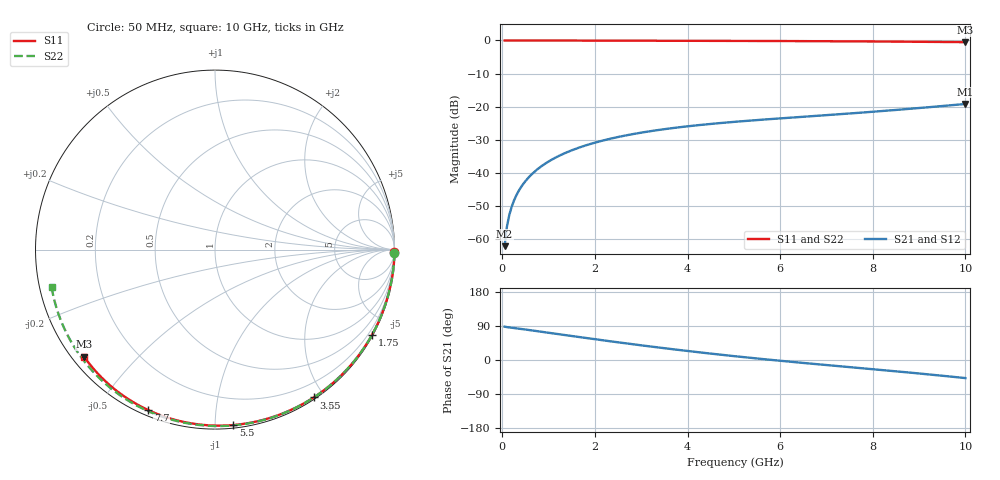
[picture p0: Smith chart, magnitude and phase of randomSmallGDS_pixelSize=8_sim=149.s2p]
! freq	dB(S11)	phase(S11)	dB(S12)	phase(S12)
!  dB(S21)	phase(S21)	dB(S22)	phase(S22)
!S-par simulation data
#  GHz  S  DB  R 50
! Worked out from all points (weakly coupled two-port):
!   200 points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, 50 MHz to 10 GHz, reference 50 ohm
!   highest |S21| = -19.15 dB at 10 GHz (marker M1); lowest = -62.0 dB at 50 MHz (marker M2)
!   lowest |S11| = -0.5 dB at 10 GHz (marker M3), VSWR 33.67, Z = 1.67 - j17.8 ohm
!   |S11| at or under -10 dB: nowhere
!   |S22| runs from -0.6 to 0.0 dB; largest |S21 - S12| = 0
!   S11 on the Smith chart (normalised r, x): 50 MHz: open; 1.75 GHz: 0.04, -3.94; 3.55 GHz: 0.02, -1.87; 5.5 GHz: 0.02, -1.11; 7.7 GHz: 0.02, -0.67; 10 GHz: 0.03, -0.36
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0.05  -0.00 -0.8  -62.03 88.1  -62.03 88.1  -0.00 -1.0
0.1  -0.00 -1.7  -56.13 86.8  -56.13 86.8  -0.00 -1.9
0.15  -0.00 -2.5  -52.69 85.9  -52.69 85.9  -0.00 -2.9
0.2  -0.00 -3.3  -50.25 85.2  -50.25 85.2  -0.00 -3.9
0.25  -0.00 -4.1  -48.35 84.4  -48.35 84.4  -0.00 -4.8
0.35  -0.00 -5.8  -45.47 82.9  -45.47 82.9  -0.01 -6.8
0.5  -0.01 -8.3  -42.41 80.4  -42.41 80.4  -0.01 -9.7
0.7  -0.01 -11.5  -39.53 77.1  -39.53 77.1  -0.02 -13.5
1  -0.02 -16.4  -36.50 71.9  -36.50 71.9  -0.02 -19.2
1.35  -0.03 -22.1  -33.99 65.9  -33.99 65.9  -0.03 -25.8
1.75  -0.04 -28.5  -31.87 59.1  -31.87 59.1  -0.04 -33.3
2.6  -0.06 -41.8  -28.82 45.0  -28.82 45.0  -0.07 -48.8
3.4  -0.08 -54.0  -26.94 32.6  -26.94 32.6  -0.09 -62.9
3.55  -0.08 -56.2  -26.65 30.4  -26.65 30.4  -0.10 -65.5
4.3  -0.11 -67.2  -25.44 19.6  -25.44 19.6  -0.12 -78.2
5.05  -0.13 -77.8  -24.50 9.6  -24.50 9.6  -0.15 -90.5
5.5  -0.15 -84.0  -24.00 4.0  -24.00 4.0  -0.17 -97.6
6.7  -0.21 -99.9  -22.82 -10.0  -22.82 -10.0  -0.24 -116.3
7.7  -0.28 -112.6  -21.82 -21.0  -21.82 -21.0  -0.32 -131.4
8.35  -0.33 -120.6  -21.12 -28.1  -21.12 -28.1  -0.38 -141.3
9.2  -0.42 -131.0  -20.14 -37.9  -20.14 -37.9  -0.48 -154.4
10  -0.52 -140.7  -19.15 -47.7  -19.15 -47.7  -0.59 -167.3
